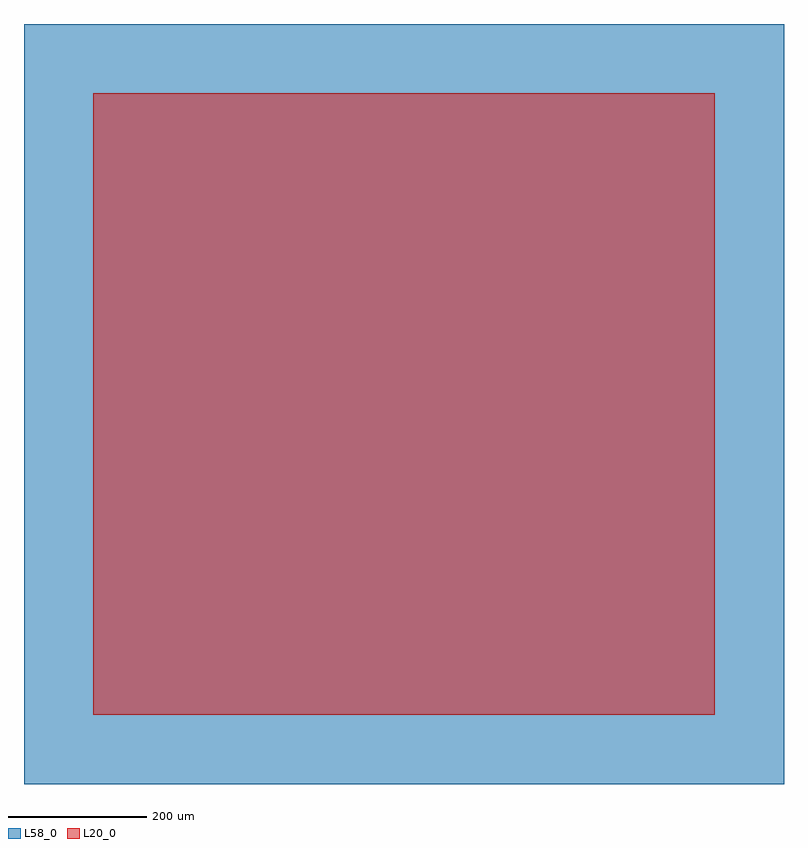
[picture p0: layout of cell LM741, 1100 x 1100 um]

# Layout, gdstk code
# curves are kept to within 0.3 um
import gdstk
lib = gdstk.Library(unit=1e-6, precision=1e-09)
def R(c, l, rs):  # rectangles x0, y0, x1, y1
    for r in rs: c.add(gdstk.rectangle(r[:2], r[2:], *l))
def P(c, l, *ps):  # polygons
    for p in ps: c.add(gdstk.Polygon(p, *l))
L20_0 = (20, 0)
L58_0 = (58, 0)

chip_pin_1 = lib.new_cell('chip_pin_1')
R(chip_pin_1, L58_0, [(-100,-100,100,100)])

chip_pin = lib.new_cell('chip_pin')
P(chip_pin, L58_0, [(50,0),(49,10),(46,19),(42,28),(28,42),(19,46),(10,49),(0,50),(-10,49),(-19,46),(-28,42),(-42,28),(-46,19),(-49,10),(-50,0),(-49,-10),(-46,-19),(-42,-28),(-28,-42),(-19,-46),(-10,-49),(0,-50),(10,-49),(19,-46),(28,-42),(42,-28),(46,-19),(49,-10)])

lm741 = lib.new_cell('LM741')
R(lm741, L20_0, [(-450,-450,450,450)])
R(lm741, L58_0, [(-550,-550,550,550)])
lm741.add(gdstk.Reference(chip_pin_1, (-350,350)))
lm741.add(gdstk.Reference(chip_pin, (-350,100)))
lm741.add(gdstk.Reference(chip_pin, (-350,-100)))
lm741.add(gdstk.Reference(chip_pin, (-350,-350)))
lm741.add(gdstk.Reference(chip_pin, (400,-400)))
lm741.add(gdstk.Reference(chip_pin, (400,-50)))
lm741.add(gdstk.Reference(chip_pin, (400,350)))

lib.write_gds('LM741.gds')
